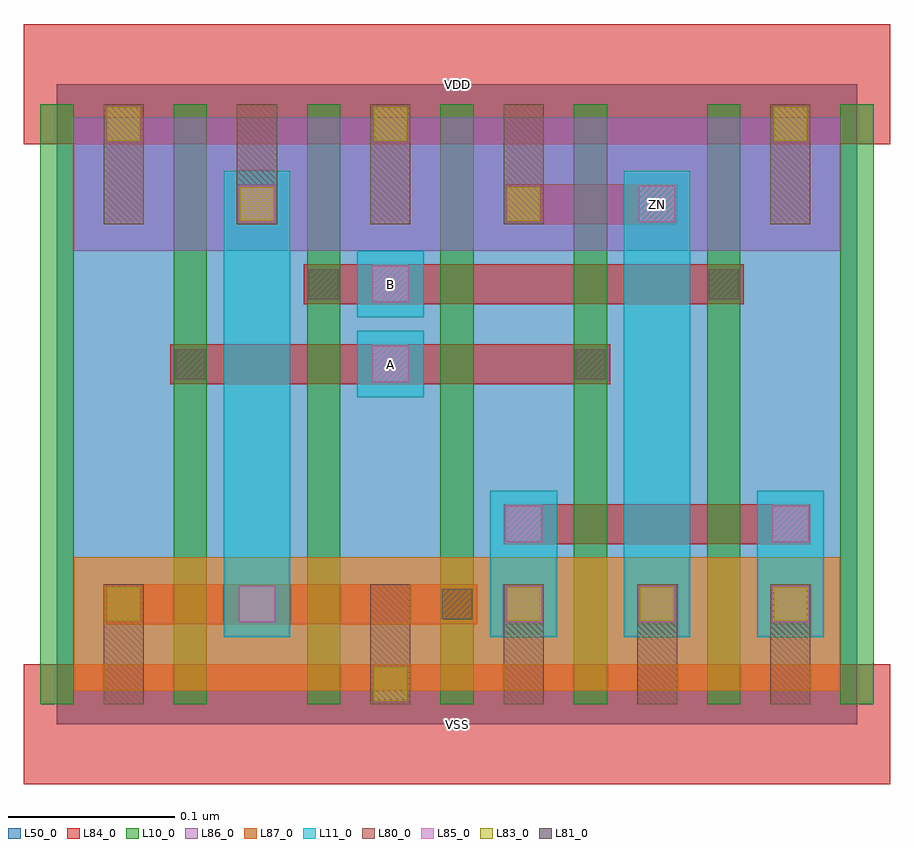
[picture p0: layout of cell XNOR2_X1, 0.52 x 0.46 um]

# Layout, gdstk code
import gdstk
lib = gdstk.Library(unit=1e-6, precision=1e-09)
def R(c, l, rs):  # rectangles x0, y0, x1, y1
    for r in rs: c.add(gdstk.rectangle(r[:2], r[2:], *l))
def A(c, l, x, y, w, h, nx, ny, dx, dy):  # array of equal rectangles
    R(c, l, [(x+i*dx, y+j*dy, x+i*dx+w, y+j*dy+h) for i in range(nx) for j in range(ny)])
L10_0 = (10, 0)
L11_0 = (11, 0)
L50_0 = (50, 0)
L80_0 = (80, 0)
L81_0 = (81, 0)
L83_0 = (83, 0)
L84_0 = (84, 0)
L85_0 = (85, 0)
L86_0 = (86, 0)
L87_0 = (87, 0)

xnor2_x1 = lib.new_cell('XNOR2_X1')
A(xnor2_x1, L10_0, -0.01, 0.012, 0.02, 0.36, 7, 1, 0.08, 0)
R(xnor2_x1, L11_0, [(0.1,0.052,0.14,0.332), (0.26,0.052,0.3,0.14), (0.34,0.052,0.38,0.332), (0.42,0.052,0.46,0.14), (0.18,0.196,0.22,0.236), (0.18,0.244,0.22,0.284)])
R(xnor2_x1, L50_0, [(0,0,0.48,0.384)])
A(xnor2_x1, L80_0, 0.188, 0.012, 0.024, 0.072, 4, 1, 0.08, 0)
A(xnor2_x1, L80_0, 0.028, 0.3, 0.024, 0.072, 4, 1, 0.08, 0)
R(xnor2_x1, L80_0, [(0.028,0.012,0.052,0.084), (0.428,0.3,0.452,0.372)])
R(xnor2_x1, L81_0, [(0.231,0.063,0.249,0.081), (0.071,0.207,0.089,0.225), (0.311,0.207,0.329,0.225), (0.151,0.255,0.169,0.273), (0.391,0.255,0.409,0.273)])
A(xnor2_x1, L83_0, 0.27, 0.062, 0.02, 0.02, 3, 1, 0.08, 0)
R(xnor2_x1, L83_0, [(0.19,0.014,0.21,0.034), (0.03,0.062,0.05,0.082), (0.11,0.302,0.13,0.322), (0.27,0.302,0.29,0.322), (0.03,0.35,0.05,0.37), (0.19,0.35,0.21,0.37), (0.43,0.35,0.45,0.37)])
A(xnor2_x1, L84_0, 0.268, 0.06, 0.024, 0.024, 3, 1, 0.08, 0)
R(xnor2_x1, L84_0, [(-0.02,-0.036,0.5,0.036), (0.028,0.06,0.252,0.084), (0.268,0.108,0.452,0.132), (0.068,0.204,0.332,0.228), (0.148,0.252,0.412,0.276), (0.108,0.3,0.132,0.324), (0.268,0.3,0.372,0.324), (-0.02,0.348,0.5,0.42)])
A(xnor2_x1, L85_0, 0.269, 0.061, 0.022, 0.022, 3, 1, 0.08, 0)
R(xnor2_x1, L85_0, [(0.109,0.061,0.131,0.083), (0.269,0.109,0.291,0.131), (0.429,0.109,0.451,0.131), (0.189,0.205,0.211,0.227), (0.189,0.253,0.211,0.275), (0.109,0.301,0.131,0.323), (0.349,0.301,0.371,0.323)])
R(xnor2_x1, L86_0, [(0.01,0.284,0.47,0.364)])
R(xnor2_x1, L87_0, [(0.01,0.02,0.47,0.1)])
xnor2_x1.add(gdstk.Label('VDD', (0.24,0.384), layer=88, texttype=0))
xnor2_x1.add(gdstk.Label('VSS', (0.24,0), layer=88, texttype=0))
xnor2_x1.add(gdstk.Label('ZN', (0.36,0.312), layer=31, texttype=0))
xnor2_x1.add(gdstk.Label('B', (0.2,0.264), layer=31, texttype=0))
xnor2_x1.add(gdstk.Label('A', (0.2,0.216), layer=31, texttype=0))

lib.write_gds('XNOR2_X1.gds')
